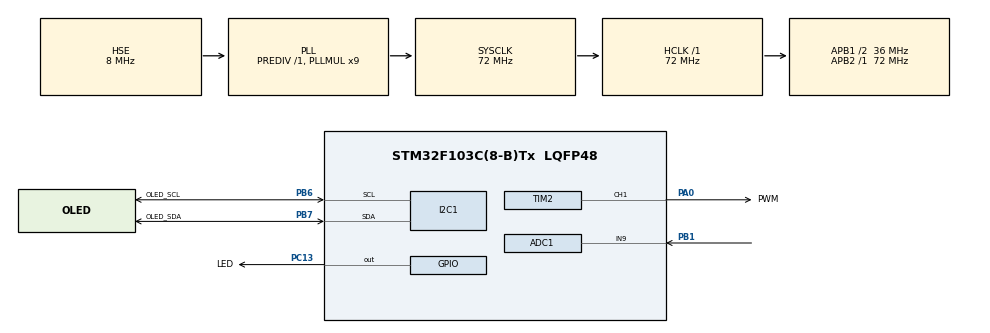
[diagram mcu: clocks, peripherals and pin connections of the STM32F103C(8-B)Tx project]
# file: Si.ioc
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ADC1.Channel-1\#ChannelRegularConversion=ADC_CHANNEL_9
ADC1.ContinuousConvMode=ENABLE
ADC1.NbrOfConversion=1
ADC1.NbrOfConversionFlag=1
ADC1.Rank-1\#ChannelRegularConversion=1
ADC1.SamplingTime-1\#ChannelRegularConversion=ADC_SAMPLETIME_239CYCLES_5
ADC1.master=1
Dma.ADC1.0.Direction=DMA_PERIPH_TO_MEMORY
Dma.ADC1.0.Instance=DMA1_Channel1
Dma.ADC1.0.MemDataAlignment=DMA_MDATAALIGN_WORD
Dma.ADC1.0.MemInc=DMA_MINC_ENABLE
Dma.ADC1.0.Mode=DMA_CIRCULAR
Dma.ADC1.0.PeriphDataAlignment=DMA_PDATAALIGN_WORD
Dma.ADC1.0.PeriphInc=DMA_PINC_DISABLE
Dma.ADC1.0.Priority=DMA_PRIORITY_VERY_HIGH
Dma.Request0=ADC1
Mcu.Family=STM32F1
Mcu.Name=STM32F103C(8-B)Tx
Mcu.Package=LQFP48
NVIC.DMA1_Channel1_IRQn=true\:0\:0\:false\:false\:true\:false\:true\:true
NVIC.PriorityGroup=NVIC_PRIORITYGROUP_4
NVIC.TIM1_UP_IRQn=true\:0\:0\:false\:false\:true\:true\:true\:true
PA0-WKUP.GPIO_Label=PWM
PA0-WKUP.Signal=S_TIM2_CH1_ETR
PA13.Mode=Serial_Wire
PA13.Signal=SYS_JTMS-SWDIO
PA14.Mode=Serial_Wire
PA14.Signal=SYS_JTCK-SWCLK
PB1.Signal=ADCx_IN9
PB6.GPIO_Label=OLED_SCL
PB6.Mode=I2C
PB6.Signal=I2C1_SCL
PB7.GPIO_Label=OLED_SDA
PB7.Mode=I2C
PB7.Signal=I2C1_SDA
PC13-TAMPER-RTC.GPIO_Label=LED
PC13-TAMPER-RTC.Signal=GPIO_Output
PC14-OSC32_IN.Mode=LSE-External-Oscillator
PC14-OSC32_IN.Signal=RCC_OSC32_IN
PC15-OSC32_OUT.Mode=LSE-External-Oscillator
PC15-OSC32_OUT.Signal=RCC_OSC32_OUT
PD0-OSC_IN.Mode=HSE-External-Oscillator
PD0-OSC_IN.Signal=RCC_OSC_IN
PD1-OSC_OUT.Mode=HSE-External-Oscillator
PD1-OSC_OUT.Signal=RCC_OSC_OUT
ProjectManager.HeapSize=0x200
ProjectManager.StackSize=0x400
ProjectManager.TargetToolchain=MDK-ARM V5
RCC.ADCPresc=RCC_ADCPCLK2_DIV6
RCC.AHBFreq_Value=72000000
RCC.APB1CLKDivider=RCC_HCLK_DIV2
RCC.APB1Freq_Value=36000000
RCC.APB1TimFreq_Value=72000000
RCC.APB2Freq_Value=72000000
RCC.APB2TimFreq_Value=72000000
RCC.HCLKFreq_Value=72000000
RCC.PLLMUL=RCC_PLL_MUL9
RCC.PLLSourceVirtual=RCC_PLLSOURCE_HSE
RCC.SYSCLKFreq_VALUE=72000000
RCC.SYSCLKSource=RCC_SYSCLKSOURCE_PLLCLK
RCC.USBFreq_Value=72000000
SH.ADCx_IN9.0=ADC1_IN9,IN9
SH.S_TIM2_CH1_ETR.0=TIM2_CH1,PWM Generation1 CH1
TIM1.AutoReloadPreload=TIM_AUTORELOAD_PRELOAD_ENABLE
TIM1.Period=10000-1
TIM1.Prescaler=72-1
TIM2.Channel-PWM\ Generation1\ CH1=TIM_CHANNEL_1
TIM2.Period=900-1
TIM2.Prescaler=0
TIM2.Pulse-PWM\ Generation1\ CH1=150
VP_TIM1_VS_ClockSourceINT.Mode=Internal
VP_TIM2_VS_ClockSourceINT.Mode=Internal
board=custom

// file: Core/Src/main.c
/* USER CODE BEGIN Header */
/**
 ******************************************************************************
 * @file           : main.c
 * @brief          : Main program body
 ******************************************************************************
 * @attention
 *
 * Copyright (c) 2024 STMicroelectronics.
 * All rights reserved.
 *
 * This software is licensed under terms that can be found in the LICENSE file
 * in the root directory of this software component.
 * If no LICENSE file comes with this software, it is provided AS-IS.
 *
 ******************************************************************************
 */
/* USER CODE END Header */
#include "main.h"
#include "adc.h"
#include "dma.h"
#include "i2c.h"
#include "tim.h"
#include "gpio.h"

/* USER CODE BEGIN Includes */
#include "oled.h"
#include "stdio.h"
#include "string.h"
/* USER CODE END Includes */

/* USER CODE BEGIN PV */
char oledString[30];
volatile uint32_t adcBuffer[ADC_AVERAGE_COUNT]; // 保存ADC转换后的数�??
float ADC_Value = 0.0;                          // 保存计算后的数�??
float temperature = 0.0;                        // 内部温度传感�???
float voltage = 0.0;
/* USER CODE END PV */

void SystemClock_Config(void);

int main(void)
{

  /* MCU Configuration--------------------------------------------------------*/

  /* Reset of all peripherals, Initializes the Flash interface and the Systick. */
  HAL_Init();

  /* Configure the system clock */
  SystemClock_Config();

  /* Initialize all configured peripherals */
  MX_GPIO_Init();
  MX_DMA_Init();
  MX_ADC1_Init();
  MX_TIM1_Init();
  MX_TIM2_Init();
  MX_I2C1_Init();
  /* USER CODE BEGIN 2 */
  OLED_Init(); // 初始化OLED
  OLED_Clear();
  HAL_TIM_Base_Start_IT(&htim1);
  HAL_TIM_PWM_Start(&htim2, TIM_CHANNEL_1);
  HAL_ADC_Start_DMA(&hadc1, (uint32_t *)adcBuffer, ADC_AVERAGE_COUNT);
  /* USER CODE END 2 */

  /* Infinite loop */
  /* USER CODE BEGIN WHILE */
  while (1)
  {
    OLEDShow();
    adjustBrightness();
    /* USER CODE END WHILE */

  }
}

void SystemClock_Config(void)
{
  RCC_OscInitTypeDef RCC_OscInitStruct = {0};
  RCC_ClkInitTypeDef RCC_ClkInitStruct = {0};
  RCC_PeriphCLKInitTypeDef PeriphClkInit = {0};

  /** Initializes the RCC Oscillators according to the specified parameters
   * in the RCC_OscInitTypeDef structure.
   */
  RCC_OscInitStruct.OscillatorType = RCC_OSCILLATORTYPE_HSE;
  RCC_OscInitStruct.HSEState = RCC_HSE_ON;
  RCC_OscInitStruct.HSEPredivValue = RCC_HSE_PREDIV_DIV1;
  RCC_OscInitStruct.HSIState = RCC_HSI_ON;
  RCC_OscInitStruct.PLL.PLLState = RCC_PLL_ON;
  RCC_OscInitStruct.PLL.PLLSource = RCC_PLLSOURCE_HSE;
  RCC_OscInitStruct.PLL.PLLMUL = RCC_PLL_MUL9;
  if (HAL_RCC_OscConfig(&RCC_OscInitStruct) != HAL_OK)
  {
    Error_Handler();
  }

  /** Initializes the CPU, AHB and APB buses clocks
   */
  RCC_ClkInitStruct.ClockType = RCC_CLOCKTYPE_HCLK | RCC_CLOCKTYPE_SYSCLK | RCC_CLOCKTYPE_PCLK1 | RCC_CLOCKTYPE_PCLK2;
  RCC_ClkInitStruct.SYSCLKSource = RCC_SYSCLKSOURCE_PLLCLK;
  RCC_ClkInitStruct.AHBCLKDivider = RCC_SYSCLK_DIV1;
  RCC_ClkInitStruct.APB1CLKDivider = RCC_HCLK_DIV2;
  RCC_ClkInitStruct.APB2CLKDivider = RCC_HCLK_DIV1;

  if (HAL_RCC_ClockConfig(&RCC_ClkInitStruct, FLASH_LATENCY_2) != HAL_OK)
  {
    Error_Handler();
  }
  PeriphClkInit.PeriphClockSelection = RCC_PERIPHCLK_ADC;
  PeriphClkInit.AdcClockSelection = RCC_ADCPCLK2_DIV6;
  if (HAL_RCCEx_PeriphCLKConfig(&PeriphClkInit) != HAL_OK)
  {
    Error_Handler();
  }
}

/* USER CODE BEGIN 4 */
void OLEDShow()
{
  sprintf(oledString, "voltage:%3.0fmV  ", voltage);
  OLED_ShowString(0, 0, (char *)oledString, 16, 0);
}

void adjustBrightness()
{
  float PWM = 0.0;
  if (voltage < 100)
    PWM = 10;
  else
    PWM = 2.54286 * voltage - 244.286;

  __HAL_TIM_SET_COMPARE(&htim2, TIM_CHANNEL_1, (int)PWM);
}
/* USER CODE END 4 */

void Error_Handler(void)
{
  __disable_irq();
  while (1)
  {
  }
}
